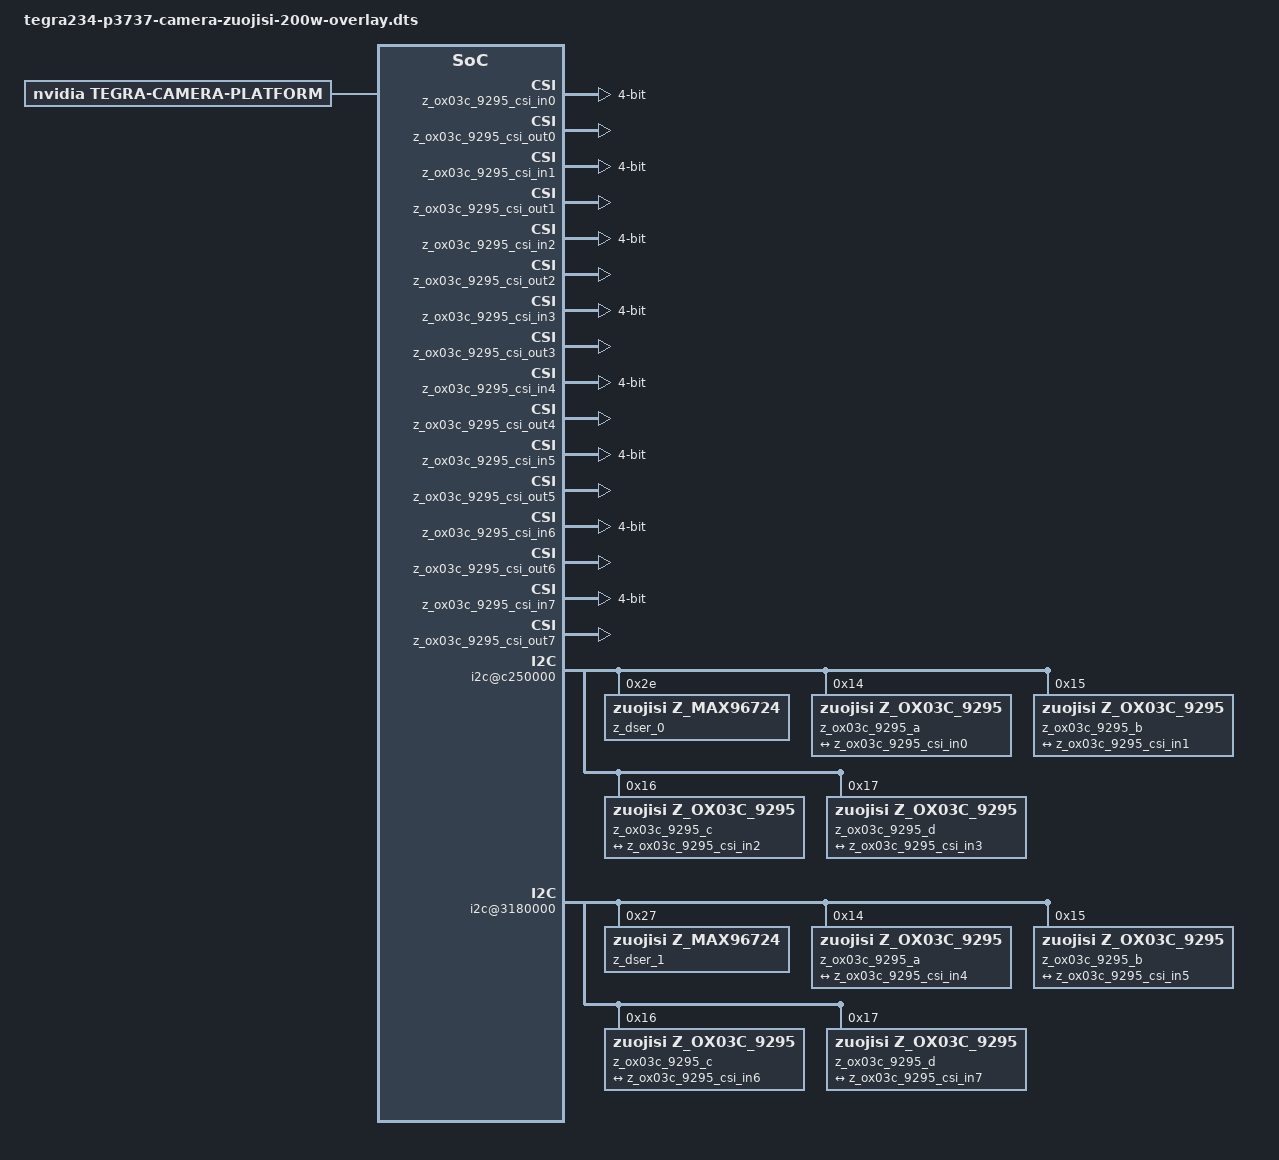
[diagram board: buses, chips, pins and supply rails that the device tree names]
// SPDX-License-Identifier: GPL-2.0-only
// SPDX-FileCopyrightText: Copyright (c) 2018-2023, NVIDIA CORPORATION & AFFILIATES. All rights reserved.

/dts-v1/;
/plugin/;

#define CAM0_RST    TEGRA234_MAIN_GPIO(H, 3)
#define CAM0_PWDN    TEGRA234_MAIN_GPIO(H, 6)
#define CAM1_PWDN    TEGRA234_MAIN_GPIO(AC, 0)
#define CAM_I2C_MUX     TEGRA234_AON_GPIO(CC, 3)

#include <dt-bindings/clock/tegra234-clock.h>
#include <dt-bindings/gpio/tegra234-gpio.h>
#include <dt-bindings/tegra234-p3737-0000+p3701-0000.h>
 
#define CAM0_RST_L    TEGRA234_MAIN_GPIO(H, 3)
#define CAM0_PWDN    TEGRA234_MAIN_GPIO(H, 6)
#define CAM1_RST_L    TEGRA234_MAIN_GPIO(AC, 1)
#define CAM1_PWDN    TEGRA234_MAIN_GPIO(AC, 0)
#define CAMERA_I2C_MUX_BUS(x) (0x1E + x)
#define XCFSYNC     TEGRA234_MAIN_GPIO(AC, 7)

#define ISPBADGE "z_ox03c_9295"

/ {
    overlay-name = "AIU-100 200W Camera";
    jetson-header-name = "Jetson AGX CSI Connector";
    compatible = JETSON_COMPATIBLE;

	fragment@0 {
		target-path = "/";

		__overlay__ {
			zuojisi {
				base {
					label = "xcbase 20250517";
				};
				branch {
					label = "CIG AIU-100 with 200W camera";
				};
			};
			tegra-capture-vi {
				num-channels = <8>;
				ports {
					#address-cells = <1>;
					#size-cells = <0>;
					status = "okay";
					port@0 {
						status = "okay";
						reg = <0>;
						z_ox03c_9295_vi_in0: endpoint {
							status = "okay";
							vc-id = <0>;
							port-index = <5>;
							bus-width = <4>;
							remote-endpoint = <&z_ox03c_9295_csi_out0>;
						};
					};
					port@1 {
						status = "okay";
						reg = <1>;
						z_ox03c_9295_vi_in1: endpoint {
							status = "okay";
							vc-id = <1>;
							port-index = <5>;
							bus-width = <4>;
							remote-endpoint = <&z_ox03c_9295_csi_out1>;
						};
					};
					port@2 {
						status = "okay";
						reg = <2>;
						z_ox03c_9295_vi_in2: endpoint {
							status = "okay";
							vc-id = <2>;
							port-index = <5>;
							bus-width = <4>;
							remote-endpoint = <&z_ox03c_9295_csi_out2>;
						};
					};
					port@3 {
						status = "okay";
						reg = <3>;
						z_ox03c_9295_vi_in3: endpoint {
							status = "okay";
							vc-id = <3>;
							port-index = <5>;
							bus-width = <4>;
							remote-endpoint = <&z_ox03c_9295_csi_out3>;
						};
					};

					port@4 {
						status = "okay";
						reg = <4>;
						z_ox03c_9295_vi_in4: endpoint {
							status = "okay";
							vc-id = <0>;
							port-index = <2>;
							bus-width = <4>;
							remote-endpoint = <&z_ox03c_9295_csi_out4>;
						};
					};
					port@5 {
						status = "okay";
						reg = <5>;
						z_ox03c_9295_vi_in5: endpoint {
							status = "okay";
							vc-id = <1>;
							port-index = <2>;
							bus-width = <4>;
							remote-endpoint = <&z_ox03c_9295_csi_out5>;
						};
					};
					port@6 {
						status = "okay";
						reg = <6>;
						z_ox03c_9295_vi_in6: endpoint {
							status = "okay";
							vc-id = <2>;
							port-index = <2>;
							bus-width = <4>;
							remote-endpoint = <&z_ox03c_9295_csi_out6>;
						};
					};
					port@7 {
						status = "okay";
						reg = <7>;
						z_ox03c_9295_vi_in7: endpoint {
							status = "okay";
							vc-id = <3>;
							port-index = <2>;
							bus-width = <4>;
							remote-endpoint = <&z_ox03c_9295_csi_out7>;
						};
					};
				};
			};
			tegra-camera-platform {
				compatible = "nvidia, tegra-camera-platform";
				num_csi_lanes = <16>;
				max_lane_speed = <2000000>;
				min_bits_per_pixel = <10>;
				vi_peak_byte_per_pixel = <2>;
				vi_bw_margin_pct = <25>;
				max_pixel_rate = <750000>;
				isp_peak_byte_per_pixel = <5>;
				isp_bw_margin_pct = <25>;

				modules {
					status = "okay";
					module0 {
						status = "okay";
						badge = ISPBADGE;   
						position = "bottomleft";
						orientation = "1";
						drivernode0 {
							status = "okay";
							pcl_id = "v4l2_sensor";
							sysfs-device-tree = "/sys/firmware/devicetree/base/bus@0/i2c@c250000/z_ox03c_9295_a";
						};
					};
					module1 {
						status = "okay";
						badge = ISPBADGE;   
						position = "centerleft";
						orientation = "1";
						drivernode0 {
							status = "okay";
							pcl_id = "v4l2_sensor";
							sysfs-device-tree = "/sys/firmware/devicetree/base/bus@0/i2c@c250000/z_ox03c_9295_b";
						};
					};
					module2 {
						status = "okay";
						badge = ISPBADGE;   
						position = "centerright";
						orientation = "1";
						drivernode0 {
							status = "okay";
							pcl_id = "v4l2_sensor";
							sysfs-device-tree = "/sys/firmware/devicetree/base/bus@0/i2c@c250000/z_ox03c_9295_c";
						};
					};
					module3 {
						status = "okay";
						badge = ISPBADGE;   
						position = "topleft";
						orientation = "1";
						drivernode0 {
							status = "okay";
							pcl_id = "v4l2_sensor";
							sysfs-device-tree = "/sys/firmware/devicetree/base/bus@0/i2c@c250000/z_ox03c_9295_d";
						};
					};
					module4 {
						status = "okay";
						badge = ISPBADGE;   
						position = "bottomright";
						orientation = "1";
						drivernode0 {
							status = "okay";
							pcl_id = "v4l2_sensor";
							sysfs-device-tree = "/sys/firmware/devicetree/base/bus@0/i2c@3180000/z_ox03c_9295_a";
						};
					};
					module5 {
						status = "okay";
						badge = ISPBADGE;   
						position = "topright";
						orientation = "1";
						drivernode0 {
							status = "okay";
							pcl_id = "v4l2_sensor";
							sysfs-device-tree = "/sys/firmware/devicetree/base/bus@0/i2c@3180000/z_ox03c_9295_b";
						};
					};
					module6 {
						status = "okay";
						badge = ISPBADGE;   
						position = "front";
						orientation = "1";
						drivernode0 {
							status = "okay";
							pcl_id = "v4l2_sensor";
							sysfs-device-tree = "/sys/firmware/devicetree/base/bus@0/i2c@3180000/z_ox03c_9295_c";
						};
					};
					module7 {
						status = "okay";
						badge = ISPBADGE;   
						position = "rear";
						orientation = "1";
						drivernode0 {
							status = "okay";
							pcl_id = "v4l2_sensor";
							sysfs-device-tree = "/sys/firmware/devicetree/base/bus@0/i2c@3180000/z_ox03c_9295_d";
						};
					};
				};
			};
			bus@0{
				host1x@13e00000 {
					nvcsi@15a00000 {
						num-channels = <8>;
						#address-cells = <1>;
						#size-cells = <0>;
						channel@0 {
							status = "okay";
							reg = <0>;
							ports {
								status = "okay";
								#address-cells = <1>;
								#size-cells = <0>;
								port@0 {
									status = "okay";
									reg = <0>;
									z_ox03c_9295_csi_in0: endpoint@0 {
										status = "okay";
										port-index = <6>;
										bus-width = <4>;
										remote-endpoint = <&z_ox03c_9295_cam_out0>;
									};
								};
								port@1 {
									status = "okay";
									reg = <1>;
									z_ox03c_9295_csi_out0: endpoint@1 {
										status = "okay";
										remote-endpoint = <&z_ox03c_9295_vi_in0>;
									};
								};
							};
						};
						channel@1 {
							status = "okay";
							reg = <1>;
							ports {
								status = "okay";
								#address-cells = <1>;
								#size-cells = <0>;
								port@0 {
									status = "okay";
									reg = <0>;
									z_ox03c_9295_csi_in1: endpoint@2 {
										status = "okay";
										port-index = <6>;
										bus-width = <4>;
										remote-endpoint = <&z_ox03c_9295_cam_out1>;
									};
								};
								port@1 {
									status = "okay";
									reg = <1>;
									z_ox03c_9295_csi_out1: endpoint@3 {
										status = "okay";
										remote-endpoint = <&z_ox03c_9295_vi_in1>;
									};
								};
							};
						};
						channel@2 {
							status = "okay";
							reg = <2>;
							ports {
								status = "okay";
								#address-cells = <1>;
								#size-cells = <0>;
								port@0 {
									status = "okay";
									reg = <0>;
									z_ox03c_9295_csi_in2: endpoint@4 {
										status = "okay";
										port-index = <6>;
										bus-width = <4>;
										remote-endpoint = <&z_ox03c_9295_cam_out2>;
									};
								};
								port@1 {
									status = "okay";
									reg = <1>;
									z_ox03c_9295_csi_out2: endpoint@5 {
										status = "okay";
										remote-endpoint = <&z_ox03c_9295_vi_in2>;
									};
								};
							};
						};
						channel@3 {
							status = "okay";
							reg = <3>;
							ports {
								status = "okay";
								#address-cells = <1>;
								#size-cells = <0>;
								port@0 {
									status = "okay";
									reg = <0>;
									z_ox03c_9295_csi_in3: endpoint@6 {
										status = "okay";
										port-index = <6>;
										bus-width = <4>;
										remote-endpoint = <&z_ox03c_9295_cam_out3>;
									};
								};
								port@1 {
									status = "okay";
									reg = <1>;
									z_ox03c_9295_csi_out3: endpoint@7 {
										status = "okay";
										remote-endpoint = <&z_ox03c_9295_vi_in3>;
									};
								};
							};
						};

						channel@4 {
							status = "okay";
							reg = <4>;
							ports {
								status = "okay";
								#address-cells = <1>;
								#size-cells = <0>;
								port@0 {
									status = "okay";
									reg = <0>;
									z_ox03c_9295_csi_in4: endpoint@8 {
										status = "okay";
										port-index = <2>;
										bus-width = <4>;
										remote-endpoint = <&z_ox03c_9295_cam_out4>;
									};
								};
								port@1 {
									status = "okay";
									reg = <1>;
									z_ox03c_9295_csi_out4: endpoint@9 {
										status = "okay";
										remote-endpoint = <&z_ox03c_9295_vi_in4>;
									};
								};
							};
						};
						channel@5 {
							status = "okay";
							reg = <5>;
							ports {
								status = "okay";
								#address-cells = <1>;
								#size-cells = <0>;
								port@0 {
									status = "okay";
									reg = <0>;
									z_ox03c_9295_csi_in5: endpoint@10 {
										status = "okay";
										port-index = <2>;
										bus-width = <4>;
										remote-endpoint = <&z_ox03c_9295_cam_out5>;
									};
								};
								port@1 {
									status = "okay";
									reg = <1>;
									z_ox03c_9295_csi_out5: endpoint@11 {
										status = "okay";
										remote-endpoint = <&z_ox03c_9295_vi_in5>;
									};
								};
							};
						};
						channel@6 {
							status = "okay";
							reg = <6>;
							ports {
								status = "okay";
								#address-cells = <1>;
								#size-cells = <0>;
								port@0 {
									status = "okay";
									reg = <0>;
									z_ox03c_9295_csi_in6: endpoint@12 {
										status = "okay";
										port-index = <2>;
										bus-width = <4>;
										remote-endpoint = <&z_ox03c_9295_cam_out6>;
									};
								};
								port@1 {
									status = "okay";
									reg = <1>;
									z_ox03c_9295_csi_out6: endpoint@13 {
										status = "okay";
										remote-endpoint = <&z_ox03c_9295_vi_in6>;
									};
								};
							};
						};
						channel@7 {
							status = "okay";
							reg = <7>;
							ports {
								status = "okay";
								#address-cells = <1>;
								#size-cells = <0>;
								port@0 {
									status = "okay";
									reg = <0>;
									z_ox03c_9295_csi_in7: endpoint@14 {
										status = "okay";
										port-index = <2>;
										bus-width = <4>;
										remote-endpoint = <&z_ox03c_9295_cam_out7>;
									};
								};
								port@1 {
									status = "okay";
									reg = <1>;
									z_ox03c_9295_csi_out7: endpoint@15 {
										status = "okay";
										remote-endpoint = <&z_ox03c_9295_vi_in7>;
									};
								};
							};
						};
					};
				};
				
						
						i2c@c250000 {
							z_dser_0: z_max96724 {
								status = "okay";
								compatible = "zuojisi,z_max96724";
								reg = <0x2e>;
								is-master;
							};
							z_ox03c_9295_a {
								status = "okay";
								def-addr = <0x36>; /* actual i2c address of sensor */
								nvidia,gmsl-dser-device = <&z_dser_0>;
								des-link = "A";

								compatible = "zuojisi,z_ox03c_9295";

								reg = <0x14>; /* 9295 will translate to this i2c address */

								devnode = "video0";
								physical_w = "15.0";
								physical_h = "12.5";
								sensor_model ="z_imx219";
								post_crop_frame_drop = "0";
								use_decibel_gain = "true";

								/* enable CID_SENSOR_MODE_ID for sensor modes selection */
								use_sensor_mode_id = "true";

								mode0 {
									mclk_khz = "24000";
									num_lanes = "4";
									tegra_sinterface = "serial_g";
									vc_id = "0";
									phy_mode = "DPHY";
									discontinuous_clk = "no";
									dpcm_enable = "false";
									cil_settletime = "0";
									dynamic_pixel_bit_depth = "10";
									csi_pixel_bit_depth = "10"; 
									mode_type = "bayer";
									pixel_phase = "grbg";

									active_w = "1920";
									active_h = "1080";
									readout_orientation = "0";
									line_length = "1920";
									inherent_gain = "1";
									mclk_multiplier = "24";
									pix_clk_hz = "90000000";
									serdes_pix_clk_hz = "560000000";

									gain_factor = "16";
									framerate_factor = "1000000";
									exposure_factor = "1000000";
									min_gain_val = "1"; /* 1.00x */
									max_gain_val = "170"; /* 10.66x */
									step_gain_val = "1";
									default_gain = "16"; /* 1.00x */
									min_hdr_ratio = "1";
									max_hdr_ratio = "1";
									min_framerate = "30000000"; /* 30.0 fps */
									max_framerate = "30000000"; /* 30.0 fps */
									step_framerate = "1";
									default_framerate = "30000000"; /* 30.0 fps */
									min_exp_time = "13"; /* us */
									max_exp_time = "683709"; /* us */
									step_exp_time = "1";
									default_exp_time = "2495"; /* us */
									embedded_metadata_height = "0";
								};
								ports {
									#address-cells = <1>;
									#size-cells = <0>;
									port@0 {
										reg = <0>;
										z_ox03c_9295_cam_out0: endpoint {
											vc-id = <0>;
											port-index = <6>;
											bus-width = <4>;
											remote-endpoint = <&z_ox03c_9295_csi_in0>;
										};
									};
								};
								gmsl-link {
									num-ser-lanes = <2>;
									streams = "raw10";
								};
							};
							z_ox03c_9295_b {
								status = "okay";
								def-addr = <0x36>; /* actual i2c address of sensor */
								nvidia,gmsl-dser-device = <&z_dser_0>;
								des-link = "B";

								compatible = "zuojisi,z_ox03c_9295";

								reg = <0x15>; /* 9295 will translate to this i2c address */
								devnode = "video1";
								physical_w = "15.0";
								physical_h = "12.5";
								sensor_model ="z_imx219";
								post_crop_frame_drop = "0";
								use_decibel_gain = "true";

								/* enable CID_SENSOR_MODE_ID for sensor modes selection */
								use_sensor_mode_id = "true";

								mode0 {
									mclk_khz = "24000";
									num_lanes = "4";
									tegra_sinterface = "serial_g";
									vc_id = "1";
									phy_mode = "DPHY";
									discontinuous_clk = "no";
									dpcm_enable = "false";
									cil_settletime = "0";
									dynamic_pixel_bit_depth = "10";
									csi_pixel_bit_depth = "10"; 
									mode_type = "bayer";
									pixel_phase = "grbg";

									active_w = "1920";
									active_h = "1080";
									readout_orientation = "0";
									line_length = "1920";
									inherent_gain = "1";
									mclk_multiplier = "24";
									pix_clk_hz = "90000000";
									serdes_pix_clk_hz = "560000000";

									gain_factor = "16";
									framerate_factor = "1000000";
									exposure_factor = "1000000";
									min_gain_val = "1"; /* 1.00x */
									max_gain_val = "170"; /* 10.66x */
									step_gain_val = "1";
									default_gain = "16"; /* 1.00x */
									min_hdr_ratio = "1";
									max_hdr_ratio = "1";
									min_framerate = "30000000"; /* 30.0 fps */
									max_framerate = "30000000"; /* 30.0 fps */
									step_framerate = "1";
									default_framerate = "30000000"; /* 30.0 fps */
									min_exp_time = "13"; /* us */
									max_exp_time = "683709"; /* us */
									step_exp_time = "1";
									default_exp_time = "2495"; /* us */
									embedded_metadata_height = "0";
								};
								ports {
									#address-cells = <1>;
									#size-cells = <0>;
									port@0 {
										reg = <0>;
										z_ox03c_9295_cam_out1: endpoint {
											vc-id = <1>;
											port-index = <6>;
											bus-width = <4>;
											remote-endpoint = <&z_ox03c_9295_csi_in1>;
										};
									};
								};
								gmsl-link {
									num-ser-lanes = <2>;
									streams = "raw10";
								};
							};
							z_ox03c_9295_c {
								status = "okay";
								def-addr = <0x36>; /* actual i2c address of sensor */
								nvidia,gmsl-dser-device = <&z_dser_0>;
								des-link = "C";

								compatible = "zuojisi,z_ox03c_9295";

								reg = <0x16>; /* 9295 will translate to this i2c address */
								devnode = "video2";
								physical_w = "15.0";
								physical_h = "12.5";
								sensor_model ="z_imx219";
								post_crop_frame_drop = "0";
								use_decibel_gain = "true";

								/* enable CID_SENSOR_MODE_ID for sensor modes selection */
								use_sensor_mode_id = "true";

								mode0 {
									mclk_khz = "24000";
									num_lanes = "4";
									tegra_sinterface = "serial_g";
									vc_id = "2";
									phy_mode = "DPHY";
									discontinuous_clk = "no";
									dpcm_enable = "false";
									cil_settletime = "0";
									dynamic_pixel_bit_depth = "10";
									csi_pixel_bit_depth = "10"; 
									mode_type = "bayer";
									pixel_phase = "grbg";
									active_w = "1920";
									active_h = "1080";
									readout_orientation = "0";
									line_length = "1920";
									inherent_gain = "1";
									mclk_multiplier = "24";
									pix_clk_hz = "90000000";
									serdes_pix_clk_hz = "560000000";

									gain_factor = "16";
									framerate_factor = "1000000";
									exposure_factor = "1000000";
									min_gain_val = "1"; /* 1.00x */
									max_gain_val = "170"; /* 10.66x */
									step_gain_val = "1";
									default_gain = "16"; /* 1.00x */
									min_hdr_ratio = "1";
									max_hdr_ratio = "1";
									min_framerate = "30000000"; /* 30.0 fps */
									max_framerate = "30000000"; /* 30.0 fps */
									step_framerate = "1";
									default_framerate = "30000000"; /* 30.0 fps */
									min_exp_time = "13"; /* us */
									max_exp_time = "683709"; /* us */
									step_exp_time = "1";
									default_exp_time = "2495"; /* us */
									embedded_metadata_height = "0";
								};
								ports {
									#address-cells = <1>;
									#size-cells = <0>;
									port@0 {
										reg = <0>;
										z_ox03c_9295_cam_out2: endpoint {
											vc-id = <2>;
											port-index = <6>;
											bus-width = <4>;
											remote-endpoint = <&z_ox03c_9295_csi_in2>;
										};
									};
								};
								gmsl-link {
									num-ser-lanes = <2>;
									streams = "raw10";
								};
							};
							z_ox03c_9295_d {
								status = "okay";
								def-addr = <0x36>; /* actual i2c address of sensor */
								nvidia,gmsl-dser-device = <&z_dser_0>;
								des-link = "D";

								compatible = "zuojisi,z_ox03c_9295";

								reg = <0x17>; /* 9295 will translate to this i2c address */
								devnode = "video3";
								physical_w = "15.0";
								physical_h = "12.5";
								sensor_model ="z_imx219";
								post_crop_frame_drop = "0";
								use_decibel_gain = "true";

								/* enable CID_SENSOR_MODE_ID for sensor modes selection */
								use_sensor_mode_id = "true";

								mode0 {
									mclk_khz = "24000";
									num_lanes = "4";
									tegra_sinterface = "serial_g";
									vc_id = "3";
									phy_mode = "DPHY";
									discontinuous_clk = "no";
									dpcm_enable = "false";
									cil_settletime = "0";
									dynamic_pixel_bit_depth = "10";
									csi_pixel_bit_depth = "10"; 
									mode_type = "bayer";
									pixel_phase = "grbg";
									active_w = "1920";
									active_h = "1080";
									readout_orientation = "0";
									line_length = "1920";
									inherent_gain = "1";
									mclk_multiplier = "24";
									pix_clk_hz = "90000000";
									serdes_pix_clk_hz = "560000000";

									gain_factor = "16";
									framerate_factor = "1000000";
									exposure_factor = "1000000";
									min_gain_val = "1"; /* 1.00x */
									max_gain_val = "170"; /* 10.66x */
									step_gain_val = "1";
									default_gain = "16"; /* 1.00x */
									min_hdr_ratio = "1";
									max_hdr_ratio = "1";
									min_framerate = "30000000"; /* 30.0 fps */
									max_framerate = "30000000"; /* 30.0 fps */
									step_framerate = "1";
									default_framerate = "30000000"; /* 30.0 fps */
									min_exp_time = "13"; /* us */
									max_exp_time = "683709"; /* us */
									step_exp_time = "1";
									default_exp_time = "2495"; /* us */
									embedded_metadata_height = "0";
								};
								ports {
									#address-cells = <1>;
									#size-cells = <0>;
									port@0 {
										reg = <0>;
										z_ox03c_9295_cam_out3: endpoint {
											vc-id = <3>;
											port-index = <6>;
											bus-width = <4>;
											remote-endpoint = <&z_ox03c_9295_csi_in3>;
										};
									};
								};
								gmsl-link {
									num-ser-lanes = <2>;
									streams = "raw10";
								};
							};
						};
						
						i2c@3180000 {
							z_dser_1: z_max96724 {
								status = "okay";
								compatible = "zuojisi,z_max96724";
								reg = <0x27>;
							};
							z_ox03c_9295_a {
								status = "okay";
								def-addr = <0x36>; /* actual i2c address of sensor */
								nvidia,gmsl-dser-device = <&z_dser_1>;
								des-link = "A";

								compatible = "zuojisi,z_ox03c_9295";

								reg = <0x14>; /* 9295 will translate to this i2c address */

								devnode = "video4";
								physical_w = "15.0";
								physical_h = "12.5";
								sensor_model ="z_imx219";
								post_crop_frame_drop = "0";
								use_decibel_gain = "true";

								/* enable CID_SENSOR_MODE_ID for sensor modes selection */
								use_sensor_mode_id = "true";

								mode0 {
									mclk_khz = "24000";
									num_lanes = "4";
									tegra_sinterface = "serial_c";
									vc_id = "0";
									phy_mode = "DPHY";
									discontinuous_clk = "no";
									dpcm_enable = "false";
									cil_settletime = "0";
									dynamic_pixel_bit_depth = "10";
									csi_pixel_bit_depth = "10"; 
									mode_type = "bayer";
									pixel_phase = "grbg";
									lane_polarity = "0";

									active_w = "1920";
									active_h = "1080";
									readout_orientation = "0";
									line_length = "1920";
									inherent_gain = "1";
									mclk_multiplier = "24";
									pix_clk_hz = "90000000";
									serdes_pix_clk_hz = "560000000";

									gain_factor = "16";
									framerate_factor = "1000000";
									exposure_factor = "1000000";
									min_gain_val = "1"; /* 1.00x */
									max_gain_val = "170"; /* 10.66x */
									step_gain_val = "1";
									default_gain = "16"; /* 1.00x */
									min_hdr_ratio = "1";
									max_hdr_ratio = "1";
									min_framerate = "30000000"; /* 30.0 fps */
									max_framerate = "30000000"; /* 30.0 fps */
									step_framerate = "1";
									default_framerate = "30000000"; /* 30.0 fps */
									min_exp_time = "13"; /* us */
									max_exp_time = "683709"; /* us */
									step_exp_time = "1";
									default_exp_time = "2495"; /* us */
									embedded_metadata_height = "0";
								};
								ports {
									#address-cells = <1>;
									#size-cells = <0>;
									port@0 {
										reg = <0>;
										z_ox03c_9295_cam_out4: endpoint {
											vc-id = <0>;
											port-index = <2>;
											bus-width = <4>;
											remote-endpoint = <&z_ox03c_9295_csi_in4>;
										};
									};
								};
								gmsl-link {
									num-ser-lanes = <2>;
									streams = "raw10";
								};
							};
							z_ox03c_9295_b {
								status = "okay";
								def-addr = <0x36>; /* actual i2c address of sensor */
								nvidia,gmsl-dser-device = <&z_dser_1>;
								des-link = "B";

								compatible = "zuojisi,z_ox03c_9295";

								reg = <0x15>; /* 9295 will translate to this i2c address */
								devnode = "video5";
								physical_w = "15.0";
								physical_h = "12.5";
								sensor_model ="z_imx219";
								post_crop_frame_drop = "0";
								use_decibel_gain = "true";

								/* enable CID_SENSOR_MODE_ID for sensor modes selection */
								use_sensor_mode_id = "true";

								mode0 {
									mclk_khz = "24000";
									num_lanes = "4";
									tegra_sinterface = "serial_c";
									vc_id = "1";
									phy_mode = "DPHY";
									discontinuous_clk = "no";
									dpcm_enable = "false";
									cil_settletime = "0";
									dynamic_pixel_bit_depth = "10";
									csi_pixel_bit_depth = "10"; 
									mode_type = "bayer";
									pixel_phase = "grbg";
									lane_polarity = "0";

									active_w = "1920";
									active_h = "1080";
									readout_orientation = "0";
									line_length = "1920";
									inherent_gain = "1";
									mclk_multiplier = "24";
									pix_clk_hz = "90000000";
									serdes_pix_clk_hz = "560000000";

									gain_factor = "16";
									framerate_factor = "1000000";
									exposure_factor = "1000000";
									min_gain_val = "1"; /* 1.00x */
									max_gain_val = "170"; /* 10.66x */
									step_gain_val = "1";
									default_gain = "16"; /* 1.00x */
									min_hdr_ratio = "1";
									max_hdr_ratio = "1";
									min_framerate = "30000000"; /* 30.0 fps */
									max_framerate = "30000000"; /* 30.0 fps */
									step_framerate = "1";
									default_framerate = "30000000"; /* 30.0 fps */
									min_exp_time = "13"; /* us */
									max_exp_time = "683709"; /* us */
									step_exp_time = "1";
									default_exp_time = "2495"; /* us */
									embedded_metadata_height = "0";
								};
								ports {
									#address-cells = <1>;
									#size-cells = <0>;
									port@0 {
										reg = <0>;
										z_ox03c_9295_cam_out5: endpoint {
											vc-id = <1>;
											port-index = <2>;
											bus-width = <4>;
											remote-endpoint = <&z_ox03c_9295_csi_in5>;
										};
									};
								};
								gmsl-link {
									num-ser-lanes = <2>;
									streams = "raw10";
								};
							};
							z_ox03c_9295_c {
								status = "okay";
								def-addr = <0x36>; /* actual i2c address of sensor */
								nvidia,gmsl-dser-device = <&z_dser_1>;
								des-link = "C";

								compatible = "zuojisi,z_ox03c_9295";

								reg = <0x16>; /* 9295 will translate to this i2c address */
								devnode = "video6";
								physical_w = "15.0";
								physical_h = "12.5";
								sensor_model ="z_imx219";
								post_crop_frame_drop = "0";
								use_decibel_gain = "true";

								/* enable CID_SENSOR_MODE_ID for sensor modes selection */
								use_sensor_mode_id = "true";

								mode0 {
									mclk_khz = "24000";
									num_lanes = "4";
									tegra_sinterface = "serial_c";
									vc_id = "2";
									phy_mode = "DPHY";
									discontinuous_clk = "no";
									dpcm_enable = "false";
									cil_settletime = "0";
									dynamic_pixel_bit_depth = "10";
									csi_pixel_bit_depth = "10"; 
									mode_type = "bayer";
									pixel_phase = "grbg";
									lane_polarity = "0";

									active_w = "1920";
									active_h = "1080";
									readout_orientation = "0";
									line_length = "1920";
									inherent_gain = "1";
									mclk_multiplier = "24";
									pix_clk_hz = "90000000";
									serdes_pix_clk_hz = "560000000";

									gain_factor = "16";
									framerate_factor = "1000000";
									exposure_factor = "1000000";
									min_gain_val = "1"; /* 1.00x */
									max_gain_val = "170"; /* 10.66x */
									step_gain_val = "1";
									default_gain = "16"; /* 1.00x */
									min_hdr_ratio = "1";
									max_hdr_ratio = "1";
									min_framerate = "30000000"; /* 30.0 fps */
									max_framerate = "30000000"; /* 30.0 fps */
									step_framerate = "1";
									default_framerate = "30000000"; /* 30.0 fps */
									min_exp_time = "13"; /* us */
									max_exp_time = "683709"; /* us */
									step_exp_time = "1";
									default_exp_time = "2495"; /* us */
									embedded_metadata_height = "0";
								};
								ports {
									#address-cells = <1>;
									#size-cells = <0>;
									port@0 {
										reg = <0>;
										z_ox03c_9295_cam_out6: endpoint {
											vc-id = <2>;
											port-index = <2>;
											bus-width = <4>;
											remote-endpoint = <&z_ox03c_9295_csi_in6>;
										};
									};
								};
								gmsl-link {
									num-ser-lanes = <2>;
									streams = "raw10";
								};
							};
							z_ox03c_9295_d {
								status = "okay";
								def-addr = <0x36>; /* actual i2c address of sensor */
								nvidia,gmsl-dser-device = <&z_dser_1>;
								des-link = "D";

								compatible = "zuojisi,z_ox03c_9295";

								reg = <0x17>; /* 9295 will translate to this i2c address */
								devnode = "video7";
								physical_w = "15.0";
								physical_h = "12.5";
								sensor_model ="z_imx219";
								post_crop_frame_drop = "0";
								use_decibel_gain = "true";

								/* enable CID_SENSOR_MODE_ID for sensor modes selection */
								use_sensor_mode_id = "true";

								mode0 {
									mclk_khz = "24000";
									num_lanes = "4";
									tegra_sinterface = "serial_c";
									vc_id = "3";
									phy_mode = "DPHY";
									discontinuous_clk = "no";
									dpcm_enable = "false";
									cil_settletime = "0";
									dynamic_pixel_bit_depth = "10";
									csi_pixel_bit_depth = "10"; 
									mode_type = "bayer";
									pixel_phase = "grbg";
									lane_polarity = "0";
									active_w = "1920";
									active_h = "1080";
									readout_orientation = "0";
									line_length = "1920";
									inherent_gain = "1";
									mclk_multiplier = "24";
									pix_clk_hz = "90000000";
									serdes_pix_clk_hz = "560000000";

									gain_factor = "16";
									framerate_factor = "1000000";
									exposure_factor = "1000000";
									min_gain_val = "1"; /* 1.00x */
									max_gain_val = "170"; /* 10.66x */
									step_gain_val = "1";
									default_gain = "16"; /* 1.00x */
									min_hdr_ratio = "1";
									max_hdr_ratio = "1";
									min_framerate = "30000000"; /* 30.0 fps */
									max_framerate = "30000000"; /* 30.0 fps */
									step_framerate = "1";
									default_framerate = "30000000"; /* 30.0 fps */
									min_exp_time = "13"; /* us */
									max_exp_time = "683709"; /* us */
									step_exp_time = "1";
									default_exp_time = "2495"; /* us */
									embedded_metadata_height = "0";
								};
								ports {
									#address-cells = <1>;
									#size-cells = <0>;
									port@0 {
										reg = <0>;
										z_ox03c_9295_cam_out7: endpoint {
											vc-id = <3>;
											port-index = <2>;
											bus-width = <4>;
											remote-endpoint = <&z_ox03c_9295_csi_in7>;
										};
									};
								};
								gmsl-link {
									num-ser-lanes = <2>;
									streams = "raw10";
								};
							};
						};
			};
		};
	};
};
